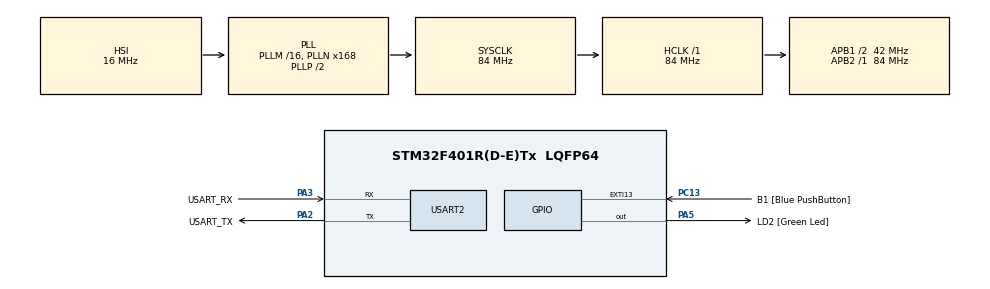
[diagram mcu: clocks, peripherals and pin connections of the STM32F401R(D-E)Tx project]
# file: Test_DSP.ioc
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ARM.CMSIS.5.8.0.CMSISJjCORE=true
ARM.CMSIS.5.8.0.CMSISJjDSP=Source
ARM.CMSIS.5.8.0.CMSISJjNNOoLib=true
Mcu.Family=STM32F4
Mcu.Name=STM32F401R(D-E)Tx
Mcu.Package=LQFP64
NVIC.PriorityGroup=NVIC_PRIORITYGROUP_0
NVIC.TIM1_UP_TIM10_IRQn=true\:0\:0\:false\:false\:true\:true\:true\:true
PA13.GPIO_Label=TMS
PA13.Mode=Serial_Wire
PA13.Signal=SYS_JTMS-SWDIO
PA14.GPIO_Label=TCK
PA14.Mode=Serial_Wire
PA14.Signal=SYS_JTCK-SWCLK
PA2.GPIO_Label=USART_TX
PA2.GPIO_Mode=GPIO_MODE_AF_PP
PA2.GPIO_PuPd=GPIO_NOPULL
PA2.GPIO_Speed=GPIO_SPEED_FREQ_LOW
PA2.Mode=Asynchronous
PA2.Signal=USART2_TX
PA3.GPIO_Label=USART_RX
PA3.GPIO_Mode=GPIO_MODE_AF_PP
PA3.GPIO_PuPd=GPIO_NOPULL
PA3.GPIO_Speed=GPIO_SPEED_FREQ_LOW
PA3.Mode=Asynchronous
PA3.Signal=USART2_RX
PA5.GPIO_Label=LD2 [Green Led]
PA5.GPIO_Mode=GPIO_MODE_OUTPUT_PP
PA5.GPIO_PuPd=GPIO_NOPULL
PA5.GPIO_Speed=GPIO_SPEED_FREQ_LOW
PA5.Signal=GPIO_Output
PB3.GPIO_Label=SWO
PB3.Signal=SYS_JTDO-SWO
PC13-ANTI_TAMP.GPIO_Label=B1 [Blue PushButton]
PC13-ANTI_TAMP.GPIO_ModeDefaultEXTI=GPIO_MODE_IT_FALLING
PC13-ANTI_TAMP.GPIO_PuPd=GPIO_NOPULL
PC13-ANTI_TAMP.Signal=GPXTI13
PC14-OSC32_IN.Mode=LSE-External-Oscillator
PC14-OSC32_IN.Signal=RCC_OSC32_IN
PC15-OSC32_OUT.Mode=LSE-External-Oscillator
PC15-OSC32_OUT.Signal=RCC_OSC32_OUT
PH0\ -\ OSC_IN.Mode=HSE-External-Clock-Source
PH0\ -\ OSC_IN.Signal=RCC_OSC_IN
PH1\ -\ OSC_OUT.Mode=HSE-External-Clock-Source
PH1\ -\ OSC_OUT.Signal=RCC_OSC_OUT
ProjectManager.HeapSize=0x200
ProjectManager.StackSize=0x400
ProjectManager.TargetToolchain=STM32CubeIDE
RCC.48MHZClocksFreq_Value=24000000
RCC.AHBFreq_Value=84000000
RCC.APB1CLKDivider=RCC_HCLK_DIV2
RCC.APB1Freq_Value=42000000
RCC.APB1TimFreq_Value=84000000
RCC.APB2Freq_Value=84000000
RCC.APB2TimFreq_Value=84000000
RCC.CortexFreq_Value=84000000
RCC.HCLKFreq_Value=84000000
RCC.HSE_VALUE=8000000
RCC.HSI_VALUE=16000000
RCC.PLLN=168
RCC.PLLQ=7
RCC.SYSCLKFreq_VALUE=84000000
RCC.SYSCLKSource=RCC_SYSCLKSOURCE_PLLCLK
RCC.VCOOutputFreq_Value=168000000
TIM10.Period=2000-1
TIM10.Prescaler=8400-1
USART2.VirtualMode=VM_ASYNC
VP_ARM.CMSIS_VS_CMSISJjCORE_5.5.0_5.8.0.Mode=CMSISJjCORE
VP_ARM.CMSIS_VS_CMSISJjDSP_1.9.0-dev_5.8.0.Mode=CMSISJjDSP
VP_ARM.CMSIS_VS_CMSISJjNNOoLib_3.0.0_5.8.0.Mode=CMSISJjNNOoLib
VP_TIM10_VS_ClockSourceINT.Mode=Enable_Timer
board=NUCLEO-F401RE

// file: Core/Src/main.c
/* USER CODE BEGIN Header */
/**
  ******************************************************************************
  * @file           : main.c
  * @brief          : Main program body
  ******************************************************************************
  * @attention
  *
  * Copyright (c) 2022 STMicroelectronics.
  * All rights reserved.
  *
  * This software is licensed under terms that can be found in the LICENSE file
  * in the root directory of this software component.
  * If no LICENSE file comes with this software, it is provided AS-IS.
  *
  ******************************************************************************
  */
/* USER CODE END Header */
#include "main.h"

/* USER CODE BEGIN Includes */
#include "nnom.h"
#include "weights.h"
#include "test_data.h"
/* USER CODE END Includes */

/* USER CODE BEGIN PTD */
#define NELEMS(x)  (sizeof(x) / sizeof((x)[0]))

/* USER CODE END PTD */

TIM_HandleTypeDef htim10;

UART_HandleTypeDef huart2;

void SystemClock_Config(void);
static void MX_GPIO_Init(void);
static void MX_USART2_UART_Init(void);
static void MX_TIM10_Init(void);

int main(void)
{

  /* MCU Configuration--------------------------------------------------------*/

  /* Reset of all peripherals, Initializes the Flash interface and the Systick. */
  HAL_Init();

  /* Configure the system clock */
  SystemClock_Config();

  /* Initialize all configured peripherals */
  MX_GPIO_Init();
  MX_USART2_UART_Init();
  MX_TIM10_Init();
  /* USER CODE BEGIN 2 */
  HAL_TIM_Base_Start_IT(&htim10);
  uint32_t idx;
  nnom_model_t *model;
  model = nnom_model_create();
  uint32_t input_lenght = NELEMS(nnom_input_data);

  for (idx = 0 ; idx < input_lenght ; idx++)
  {
	  nnom_input_data[idx] = liste_image[0][idx];
  }

  /* USER CODE END 2 */

  /* Infinite loop */
  while (1)
  {

    /* USER CODE BEGIN 3 */
	  model_run(model);
	  HAL_SuspendTick();
	  __HAL_TIM_SET_COUNTER(&htim10,0);
	  HAL_PWR_EnterSLEEPMode(PWR_MAINREGULATOR_ON, PWR_SLEEPENTRY_WFI);
  }
  /* USER CODE END 3 */
}

void SystemClock_Config(void)
{
  RCC_OscInitTypeDef RCC_OscInitStruct = {0};
  RCC_ClkInitTypeDef RCC_ClkInitStruct = {0};

  /** Configure the main internal regulator output voltage
  */
  __HAL_RCC_PWR_CLK_ENABLE();
  __HAL_PWR_VOLTAGESCALING_CONFIG(PWR_REGULATOR_VOLTAGE_SCALE2);

  /** Initializes the RCC Oscillators according to the specified parameters
  * in the RCC_OscInitTypeDef structure.
  */
  RCC_OscInitStruct.OscillatorType = RCC_OSCILLATORTYPE_HSI;
  RCC_OscInitStruct.HSIState = RCC_HSI_ON;
  RCC_OscInitStruct.HSICalibrationValue = RCC_HSICALIBRATION_DEFAULT;
  RCC_OscInitStruct.PLL.PLLState = RCC_PLL_ON;
  RCC_OscInitStruct.PLL.PLLSource = RCC_PLLSOURCE_HSI;
  RCC_OscInitStruct.PLL.PLLM = 16;
  RCC_OscInitStruct.PLL.PLLN = 168;
  RCC_OscInitStruct.PLL.PLLP = RCC_PLLP_DIV2;
  RCC_OscInitStruct.PLL.PLLQ = 7;
  if (HAL_RCC_OscConfig(&RCC_OscInitStruct) != HAL_OK)
  {
    Error_Handler();
  }

  /** Initializes the CPU, AHB and APB buses clocks
  */
  RCC_ClkInitStruct.ClockType = RCC_CLOCKTYPE_HCLK|RCC_CLOCKTYPE_SYSCLK
                              |RCC_CLOCKTYPE_PCLK1|RCC_CLOCKTYPE_PCLK2;
  RCC_ClkInitStruct.SYSCLKSource = RCC_SYSCLKSOURCE_PLLCLK;
  RCC_ClkInitStruct.AHBCLKDivider = RCC_SYSCLK_DIV1;
  RCC_ClkInitStruct.APB1CLKDivider = RCC_HCLK_DIV2;
  RCC_ClkInitStruct.APB2CLKDivider = RCC_HCLK_DIV1;

  if (HAL_RCC_ClockConfig(&RCC_ClkInitStruct, FLASH_LATENCY_2) != HAL_OK)
  {
    Error_Handler();
  }
}

static void MX_TIM10_Init(void)
{

  htim10.Instance = TIM10;
  htim10.Init.Prescaler = 8400-1;
  htim10.Init.CounterMode = TIM_COUNTERMODE_UP;
  htim10.Init.Period = 2000-1;
  htim10.Init.ClockDivision = TIM_CLOCKDIVISION_DIV1;
  htim10.Init.AutoReloadPreload = TIM_AUTORELOAD_PRELOAD_DISABLE;
  if (HAL_TIM_Base_Init(&htim10) != HAL_OK)
  {
    Error_Handler();
  }

}

static void MX_USART2_UART_Init(void)
{

  huart2.Instance = USART2;
  huart2.Init.BaudRate = 115200;
  huart2.Init.WordLength = UART_WORDLENGTH_8B;
  huart2.Init.StopBits = UART_STOPBITS_1;
  huart2.Init.Parity = UART_PARITY_NONE;
  huart2.Init.Mode = UART_MODE_TX_RX;
  huart2.Init.HwFlowCtl = UART_HWCONTROL_NONE;
  huart2.Init.OverSampling = UART_OVERSAMPLING_16;
  if (HAL_UART_Init(&huart2) != HAL_OK)
  {
    Error_Handler();
  }

}

static void MX_GPIO_Init(void)
{
  GPIO_InitTypeDef GPIO_InitStruct = {0};

  /* GPIO Ports Clock Enable */
  __HAL_RCC_GPIOC_CLK_ENABLE();
  __HAL_RCC_GPIOH_CLK_ENABLE();
  __HAL_RCC_GPIOA_CLK_ENABLE();
  __HAL_RCC_GPIOB_CLK_ENABLE();

  /*Configure GPIO pin Output Level */
  HAL_GPIO_WritePin(LD2_GPIO_Port, LD2_Pin, GPIO_PIN_RESET);

  /*Configure GPIO pin : B1_Pin */
  GPIO_InitStruct.Pin = B1_Pin;
  GPIO_InitStruct.Mode = GPIO_MODE_IT_FALLING;
  GPIO_InitStruct.Pull = GPIO_NOPULL;
  HAL_GPIO_Init(B1_GPIO_Port, &GPIO_InitStruct);

  /*Configure GPIO pin : LD2_Pin */
  GPIO_InitStruct.Pin = LD2_Pin;
  GPIO_InitStruct.Mode = GPIO_MODE_OUTPUT_PP;
  GPIO_InitStruct.Pull = GPIO_NOPULL;
  GPIO_InitStruct.Speed = GPIO_SPEED_FREQ_LOW;
  HAL_GPIO_Init(LD2_GPIO_Port, &GPIO_InitStruct);

}

/* USER CODE BEGIN 4 */
// Callback: timer has rolled over
void HAL_TIM_PeriodElapsedCallback(TIM_HandleTypeDef *htim)
{
  // Check which version of the timer triggered this callback and toggle LED
  if (htim == &htim10 )
  {
	  HAL_ResumeTick();
	  //HAL_GPIO_TogglePin (GPIOA, GPIO_PIN_5);
  }
}
/* USER CODE END 4 */

void Error_Handler(void)
{
  __disable_irq();
  while (1)
  {
  }
}
